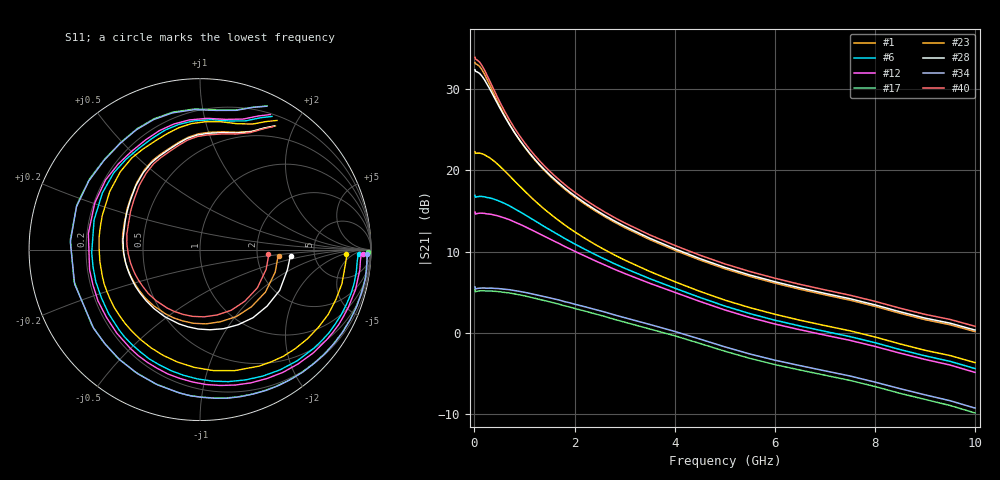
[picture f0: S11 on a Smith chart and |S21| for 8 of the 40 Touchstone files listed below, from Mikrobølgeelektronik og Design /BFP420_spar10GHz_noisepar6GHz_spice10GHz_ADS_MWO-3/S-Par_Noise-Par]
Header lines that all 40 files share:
! Infineon Technologies  Discrete & RF Semiconductors
! BFP420
! Common Emitter S-Parameters:  Nov 2009
# GHz  S  MA  R  50
!  f  S11  S21  S12  S22
! GHz  MAG  ANG  MAG  ANG  MAG  ANG  MAG  ANG
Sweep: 10 MHz to 10 GHz
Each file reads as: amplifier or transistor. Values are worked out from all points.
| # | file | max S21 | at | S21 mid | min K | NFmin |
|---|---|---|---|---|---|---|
| 1 | 2p0V54M0.s2p | 22.3 dB | 10 MHz | 13.7 dB at 1.7 GHz | 0.04 | 0.61 dB |
| 2 | 2p0V56M0.s2p | 25.2 dB | 10 MHz | 14.6 dB at 1.7 GHz | 0.07 | 0.70 dB |
| 3 | 2p0V512M.s2p | 29.5 dB | 10 MHz | 15.4 dB at 1.7 GHz | 0.14 | 0.95 dB |
| 4 | 2p0V525M.s2p | 32.2 dB | 20 MHz | 14.5 dB at 1.7 GHz | 0.30 | 1.38 dB |
| 5 | 2p1V01M5.s2p | 14.9 dB | 10 MHz | 10.7 dB at 1.7 GHz | 0.01 | 0.52 dB |
| 6 | 2p1V02M0.s2p | 16.9 dB | 10 MHz | 12.0 dB at 1.7 GHz | 0.02 | 0.53 dB |
| 7 | 2p1V04M0.s2p | 22.4 dB | 10 MHz | 14.7 dB at 1.7 GHz | 0.04 | 0.61 dB |
| 8 | 2p1V05M0.s2p | 24.0 dB | 10 MHz | 15.3 dB at 1.7 GHz | 0.05 | 0.66 dB |
| 9 | 2p1V06M0.s2p | 25.3 dB | 10 MHz | 15.8 dB at 1.7 GHz | 0.07 | 0.70 dB |
| 10 | 2p1V015M.s2p | 30.9 dB | 10 MHz | 17.0 dB at 1.7 GHz | 0.15 | 1.06 dB |
| 11 | 2p1V51M0.s2p | 11.2 dB | 10 MHz | 8.3 dB at 1.7 GHz | 0.01 | 0.53 dB |
| 12 | 2p1V51M5.s2p | 14.9 dB | 10 MHz | 11.0 dB at 1.7 GHz | 0.00 | 0.52 dB |
| 13 | 2p1V52M5.s2p | 18.7 dB | 10 MHz | 13.4 dB at 1.7 GHz | 0.02 | 0.55 dB |
| 14 | 2p1V55M0.s2p | 24.0 dB | 10 MHz | 15.8 dB at 1.7 GHz | 0.05 | 0.66 dB |
| 15 | 2p1V56M0.s2p | 25.3 dB | 10 MHz | 16.2 dB at 1.7 GHz | 0.06 | 0.70 dB |
| 16 | 2p1V515M.s2p | 31.0 dB | 10 MHz | 17.6 dB at 1.7 GHz | 0.13 | 1.06 dB |
| 17 | 2p2V00M5.s2p | 5.3 dB | 10 MHz | 3.5 dB at 1.7 GHz | 0.00 | 0.68 dB |
| 18 | 2p2V01M0.s2p | 11.7 dB | 10 MHz | 8.8 dB at 1.7 GHz | -0.35 | 0.53 dB |
| 19 | 2p2V01M2.s2p | 12.8 dB | 10 MHz | 9.6 dB at 1.7 GHz | -0.60 | 0.53 dB |
| 20 | 2p2V01M5.s2p | 14.8 dB | 10 MHz | 11.1 dB at 1.7 GHz | -0.01 | 0.52 dB |
| 21 | 2p2V02M0.s2p | 17.0 dB | 10 MHz | 12.5 dB at 1.7 GHz | 0.01 | 0.53 dB |
| 22 | 2p2V012M.s2p | 29.8 dB | 10 MHz | 17.7 dB at 1.7 GHz | 0.11 | 0.95 dB |
| 23 | 2p2V025M.s2p | 33.3 dB | 10 MHz | 18.2 dB at 1.7 GHz | 0.20 | 1.38 dB |
| 24 | 2p2V030M.s2p | 33.9 dB | 10 MHz | 18.3 dB at 1.7 GHz | 0.23 | 1.51 dB |
| 25 | 2p2V035M.s2p | 34.4 dB | 10 MHz | 18.2 dB at 1.7 GHz | 0.26 | 1.64 dB |
| 26 | 2p2V52M0.s2p | 17.1 dB | 10 MHz | 12.8 dB at 1.7 GHz | -0.05 | 0.53 dB |
| 27 | 2p2V54M0.s2p | 22.4 dB | 10 MHz | 15.6 dB at 1.7 GHz | 0.04 | 0.61 dB |
| 28 | 2p2V520M.s2p | 32.4 dB | 10 MHz | 18.4 dB at 1.7 GHz | 0.18 | 1.23 dB |
| 29 | 2p2V525M.s2p | 33.4 dB | 10 MHz | 18.5 dB at 1.7 GHz | 0.21 | 1.38 dB |
| 30 | 2p3V01M0.s2p | 11.3 dB | 10 MHz | 8.6 dB at 1.7 GHz | -0.01 | 0.53 dB |
| 31 | 2p3V01M2.s2p | 12.8 dB | 10 MHz | 9.8 dB at 1.7 GHz | 0.01 | 0.53 dB |
| 32 | 2p3V030M.s2p | 34.0 dB | 10 MHz | 18.7 dB at 1.7 GHz | 0.25 | 1.51 dB |
| 33 | 2p3V035M.s2p | 34.4 dB | 10 MHz | 18.7 dB at 1.7 GHz | 0.26 | 1.64 dB |
| 34 | 2p3V50M5.s2p | 5.6 dB | 10 MHz | 4.0 dB at 1.7 GHz | 0.01 | 0.68 dB |
| 35 | 2p3V51M2.s2p | 13.1 dB | 10 MHz | 10.1 dB at 1.7 GHz | -0.04 | 0.53 dB |
| 36 | 2p3V52M5.s2p | 18.8 dB | 10 MHz | 13.9 dB at 1.7 GHz | 0.05 | 0.55 dB |
| 37 | 2p3V54M0.s2p | 22.4 dB | 10 MHz | 15.8 dB at 1.7 GHz | 0.08 | 0.61 dB |
| 38 | 2p3V55M0.s2p | 24.1 dB | 10 MHz | 16.5 dB at 1.7 GHz | 0.09 | 0.66 dB |
| 39 | 2p3V515M.s2p | 31.0 dB | 10 MHz | 18.4 dB at 1.7 GHz | 0.21 | 1.06 dB |
| 40 | 2p3V530M.s2p | 33.9 dB | 10 MHz | 18.8 dB at 1.7 GHz | 0.27 | 1.51 dB |

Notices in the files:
Bachelor/Oplæsning/Mikrobølgeelektronik og Design /BFP420_spar10GHz_noisepar6GHz_spice10GHz_ADS_MWO-3/S-Par_Noise-Par/2p0V512M.s2p:
(c) 2009  Infineon Technologies AG, Munich
